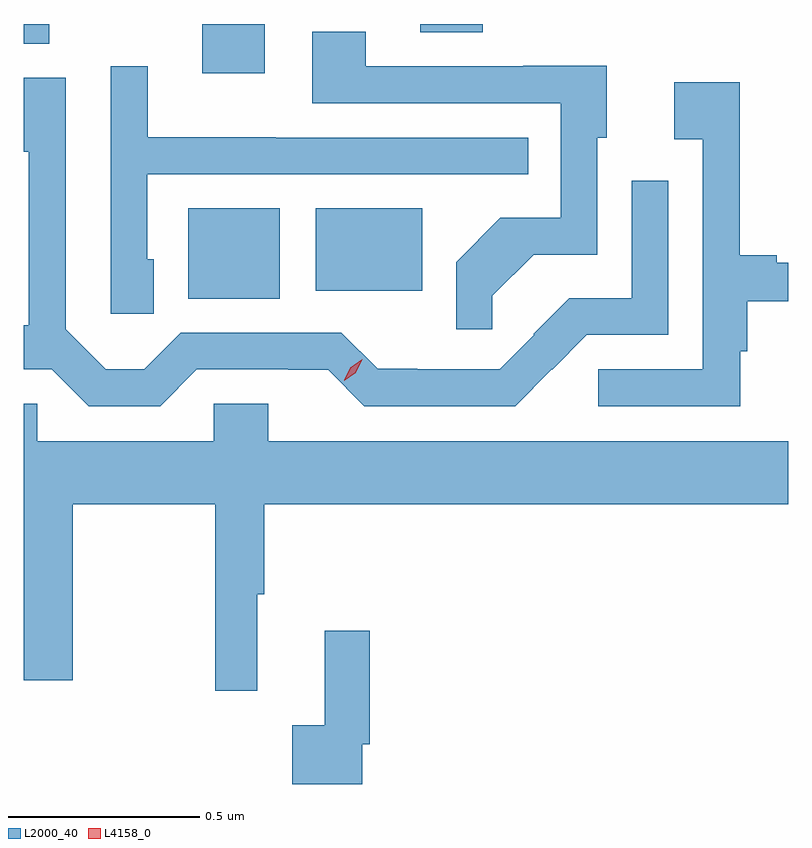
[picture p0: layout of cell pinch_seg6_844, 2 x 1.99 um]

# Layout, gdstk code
import gdstk
lib = gdstk.Library(unit=1e-6, precision=1e-09)
def R(c, l, rs):  # rectangles x0, y0, x1, y1
    for r in rs: c.add(gdstk.rectangle(r[:2], r[2:], *l))
def P(c, l, *ps):  # polygons
    for p in ps: c.add(gdstk.Polygon(p, *l))
L2000_40 = (2000, 40)
L4158_0 = (4158, 0)

pinch_seg6_844 = lib.new_cell('pinch_seg6_844')
R(pinch_seg6_844, L2000_40, [(191.513,957.197,191.752,957.433), (191.846,957.218,192.124,957.433), (191.549,957.786,191.713,957.915), (191.082,957.864,191.149,957.915), (192.119,957.893,192.283,957.915)])
P(pinch_seg6_844, L2000_40, [(192.308,957.204),(192.416,957.312),(192.582,957.312),(192.582,957.618),(192.607,957.618),(192.607,957.806),(192.389,957.806),(192.389,957.804),(191.977,957.804),(191.977,957.895),(191.837,957.895),(191.837,957.708),(192.486,957.708),(192.486,957.408),(192.329,957.408),(192.213,957.292),(192.213,957.117),(192.308,957.117)],
  [(191.422,957.3),(191.406,957.3),(191.406,957.522),(192.401,957.522),(192.401,957.618),(191.741,957.618),(191.741,957.619),(191.407,957.619),(191.407,957.805),(191.31,957.805),(191.31,957.157),(191.422,957.157)],
  [(191.535,957.012),(191.774,957.012),(191.774,957.011),(191.879,957.011),(191.973,956.916),(192.367,956.916),(192.463,957.012),(192.464,957.011),(192.555,957.102),(192.768,957.102),(192.768,957.505),(192.672,957.505),(192.672,957.198),(192.509,957.198),(192.415,957.104),(192.417,957.102),(192.327,957.012),(192.112,957.012),(192.112,957.014),(192.008,957.014),(191.913,957.108),(191.493,957.108),(191.398,957.013),(191.297,957.013),(191.193,957.117),(191.193,957.774),(191.082,957.774),(191.082,957.581),(191.096,957.581),(191.096,957.128),(191.082,957.128),(191.082,957.012),(191.156,957.012),(191.252,956.916),(191.439,956.916)],
  [(192.956,957.059),(192.974,957.059),(192.974,957.19),(193.082,957.19),(193.082,957.291),(193.051,957.291),(193.051,957.311),(192.955,957.311),(192.955,957.763),(192.783,957.763),(192.783,957.614),(192.858,957.614),(192.858,957.012),(192.585,957.012),(192.585,956.916),(192.956,956.916)],
  [(191.693,956.424),(191.711,956.424),(191.711,956.66),(193.082,956.66),(193.082,956.824),(191.722,956.824),(191.722,956.922),(191.58,956.922),(191.58,956.824),(191.118,956.824),(191.118,956.922),(191.082,956.922),(191.082,956.199),(191.211,956.199),(191.211,956.66),(191.583,956.66),(191.583,956.172),(191.693,956.172)],
  [(191.967,956.032),(191.987,956.032),(191.987,956.329),(191.87,956.329),(191.87,956.081),(191.784,956.081),(191.784,955.928),(191.967,955.928)])
P(pinch_seg6_844, L4158_0, [(191.92,956.982),(191.92,956.983),(191.936,957.016),(191.967,957.038),(191.967,957.038),(191.967,957.037),(191.951,957.003),(191.921,956.982)])

lib.write_gds('pinch_seg6_844.gds')
